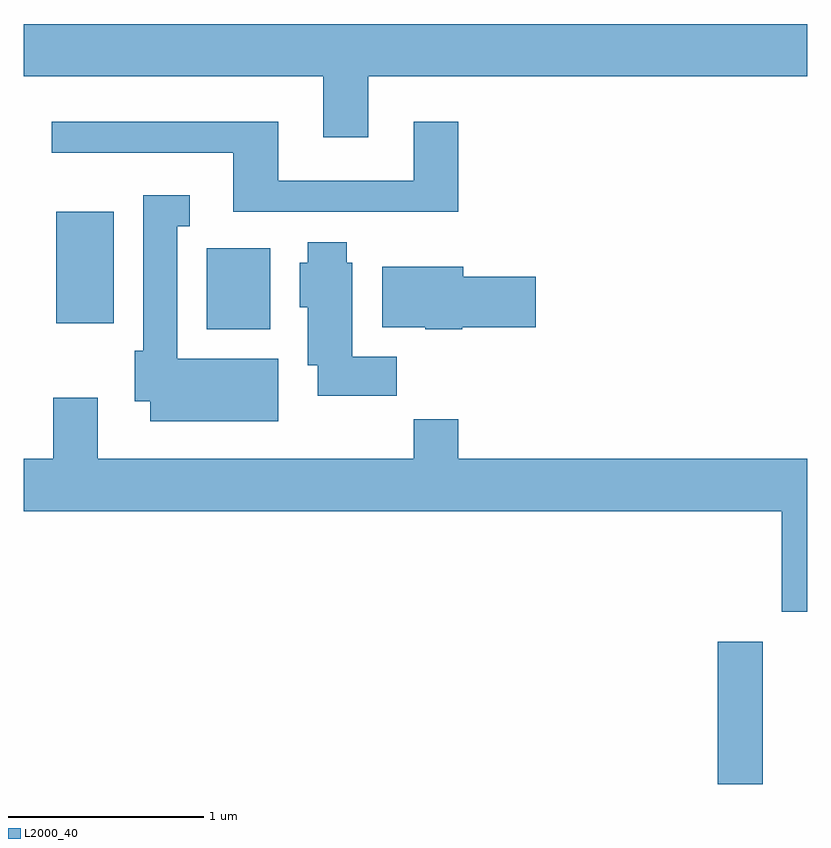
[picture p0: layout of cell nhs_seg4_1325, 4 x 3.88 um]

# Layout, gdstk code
import gdstk
lib = gdstk.Library(unit=1e-6, precision=1e-09)
def R(c, l, rs):  # rectangles x0, y0, x1, y1
    for r in rs: c.add(gdstk.rectangle(r[:2], r[2:], *l))
def P(c, l, *ps):  # polygons
    for p in ps: c.add(gdstk.Polygon(p, *l))
L2000_40 = (2000, 40)

nhs_seg4_1325 = lib.new_cell('nhs_seg4_1325')
R(nhs_seg4_1325, L2000_40, [(227.156,1319.982,227.384,1320.709), (224.546,1322.306,224.869,1322.719), (223.776,1322.336,224.069,1322.904)])
P(nhs_seg4_1325, L2000_40, [(225.369,1323.596),(227.611,1323.596),(227.611,1323.864),(223.611,1323.864),(223.611,1323.596),(225.141,1323.596),(225.141,1323.286),(225.369,1323.286)],
  [(225.829,1323.364),(225.601,1323.364),(225.601,1323.064),(224.909,1323.064),(224.909,1323.364),(223.753,1323.364),(223.753,1323.206),(224.681,1323.206),(224.681,1322.906),(225.829,1322.906)],
  [(224.909,1322.154),(224.394,1322.154),(224.394,1322.831),(224.458,1322.831),(224.458,1322.989),(224.221,1322.989),(224.221,1322.194),(224.176,1322.194),(224.176,1321.936),(224.256,1321.936),(224.256,1321.836),(224.909,1321.836)],
  [(225.514,1322.164),(225.289,1322.164),(225.289,1322.644),(225.259,1322.644),(225.259,1322.749),(225.061,1322.749),(225.061,1322.644),(225.021,1322.644),(225.021,1322.416),(225.061,1322.416),(225.061,1322.121),(225.111,1322.121),(225.111,1321.966),(225.514,1321.966)],
  [(225.85,1322.316),(226.224,1322.316),(226.224,1322.574),(225.854,1322.574),(225.854,1322.624),(225.441,1322.624),(225.441,1322.316),(225.66,1322.316),(225.66,1322.306),(225.85,1322.306)],
  [(227.611,1321.644),(225.829,1321.644),(225.829,1321.844),(225.601,1321.844),(225.601,1321.644),(223.989,1321.644),(223.989,1321.954),(223.761,1321.954),(223.761,1321.644),(223.611,1321.644),(223.611,1321.376),(227.481,1321.376),(227.481,1320.861),(227.611,1320.861)])

lib.write_gds('nhs_seg4_1325.gds')
